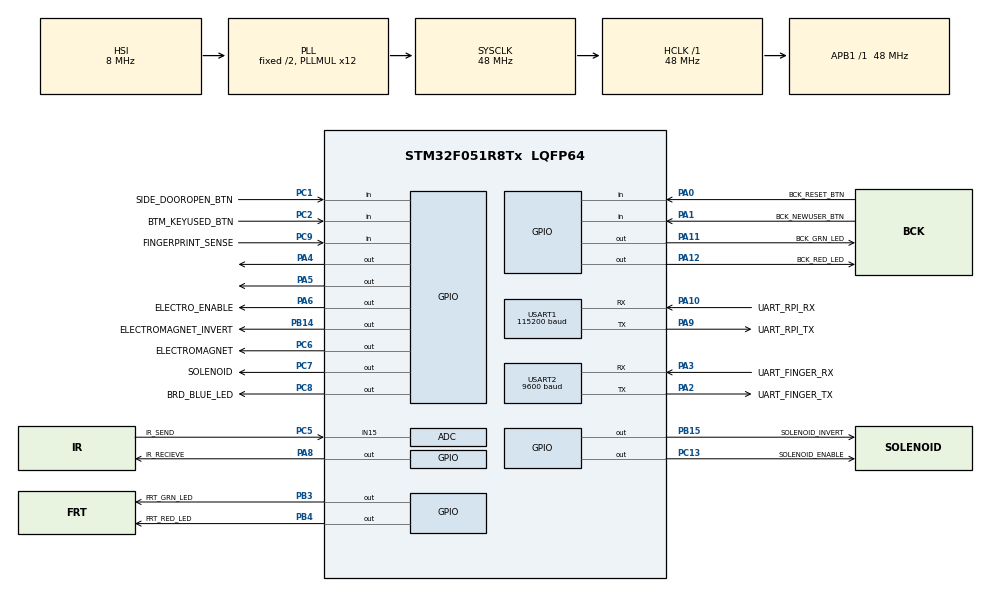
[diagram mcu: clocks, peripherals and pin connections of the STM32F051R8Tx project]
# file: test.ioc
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ADC.SamplingTime=ADC_SAMPLETIME_28CYCLES_5
Mcu.Family=STM32F0
Mcu.Name=STM32F051R8Tx
Mcu.Package=LQFP64
NVIC.ADC1_COMP_IRQn=true\:0\:0\:false\:false\:true\:true\:true
NVIC.USART1_IRQn=true\:0\:0\:false\:false\:true\:true\:true
NVIC.USART2_IRQn=true\:0\:0\:false\:false\:true\:true\:true
PA0.GPIO_Label=BCK_RESET_BTN
PA0.Signal=GPIO_Input
PA1.GPIO_Label=BCK_NEWUSER_BTN
PA1.Signal=GPIO_Input
PA10.GPIO_Label=UART_RPI_RX
PA10.Mode=Asynchronous
PA10.Signal=USART1_RX
PA11.GPIO_Label=BCK_GRN_LED
PA11.Signal=GPIO_Output
PA12.GPIO_Label=BCK_RED_LED
PA12.Signal=GPIO_Output
PA2.GPIO_Label=UART_FINGER_TX
PA2.Mode=Asynchronous
PA2.Signal=USART2_TX
PA3.GPIO_Label=UART_FINGER_RX
PA3.Mode=Asynchronous
PA3.Signal=USART2_RX
PA4.Signal=GPIO_Output
PA5.Signal=GPIO_Output
PA6.GPIO_Label=ELECTRO_ENABLE
PA6.Signal=GPIO_Output
PA8.GPIO_Label=IR_RECIEVE
PA8.Signal=GPIO_Output
PA9.GPIO_Label=UART_RPI_TX
PA9.Mode=Asynchronous
PA9.Signal=USART1_TX
PB14.GPIO_Label=ELECTROMAGNET_INVERT
PB14.Signal=GPIO_Output
PB15.GPIO_Label=SOLENOID_INVERT
PB15.Signal=GPIO_Output
PB3.GPIO_Label=FRT_GRN_LED
PB3.Signal=GPIO_Output
PB4.GPIO_Label=FRT_RED_LED
PB4.Signal=GPIO_Output
PC1.GPIO_Label=SIDE_DOOROPEN_BTN
PC1.Signal=GPIO_Input
PC13.GPIO_Label=SOLENOID_ENABLE
PC13.Signal=GPIO_Output
PC2.GPIO_Label=BTM_KEYUSED_BTN
PC2.Signal=GPIO_Input
PC5.GPIO_Label=IR_SEND
PC5.Mode=IN15
PC5.Signal=ADC_IN15
PC6.GPIO_Label=ELECTROMAGNET
PC6.Signal=GPIO_Output
PC7.GPIO_Label=SOLENOID
PC7.Signal=GPIO_Output
PC8.GPIO_Label=BRD_BLUE_LED
PC8.Signal=GPIO_Output
PC9.GPIO_Label=FINGERPRINT_SENSE
PC9.Signal=GPIO_Input
ProjectManager.HeapSize=0x200
ProjectManager.StackSize=0x400
ProjectManager.TargetToolchain=STM32CubeIDE
RCC.AHBFreq_Value=48000000
RCC.APB1Freq_Value=48000000
RCC.APB1TimFreq_Value=48000000
RCC.HCLKFreq_Value=48000000
RCC.PLLMUL=RCC_PLL_MUL12
RCC.SYSCLKFreq_VALUE=48000000
RCC.SYSCLKSource=RCC_SYSCLKSOURCE_PLLCLK
USART1.BaudRate=115200
USART1.VirtualMode-Asynchronous=VM_ASYNC
USART2.BaudRate=9600
USART2.VirtualMode-Asynchronous=VM_ASYNC
VP_ADC_Vref_Input.Mode=IN-Vrefint
board=custom

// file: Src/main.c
/* USER CODE BEGIN Header */
/**
  ******************************************************************************
  * @file           : main.c
  * @brief          : Main program body
  ******************************************************************************
  * @attention
  *
  * <h2><center>&copy; Copyright (c) 2019 STMicroelectronics.
  * All rights reserved.</center></h2>
  *
  * This software component is licensed by ST under BSD 3-Clause license,
  * the "License"; You may not use this file except in compliance with the
  * License. You may obtain a copy of the License at:
  *                        opensource.org/licenses/BSD-3-Clause
  *
  ******************************************************************************
  */
/* USER CODE END Header */

#include "main.h"
#include "adc.h"
#include "usart.h"
#include "gpio.h"

/* USER CODE BEGIN Includes */
#include <string.h>
#include <stdio.h>
#include "stm32f0xx_hal.h"
#include "stm32f0xx.h"
#include "fingerprint_scanner.h"
#include "ir_sensor.h"
#include "raspi_coms.h"
#include "peripherals.h"
/* USER CODE END Includes */

/* USER CODE BEGIN PD */

void SendtoPi(int select, char string[100], int input);
/* USER CODE END PD */

/* USER CODE BEGIN PV */

//=== UART STUFF ===//
UART_HandleTypeDef huart1;
UART_HandleTypeDef huart2;
char Rx_data2[100];
char buff[12];
char Rx_data[100];
char old_Rx_data[100];
int counter = 0;
int check = 0;
bool returns = 0;

//== ADC STUFF ==//
ADC_HandleTypeDef hadc;
uint16_t adc_value;
int image_taken = 0;
int first_run = 0;
int ir_cnt = 0;

//== FLAGS ==//
bool no_ir_flag = false;
bool new_user_flag = false;
bool delete_user_flag = false;
bool clear_users_flag = false;
bool unlock_flag = false;
bool intruder_flag = false;

//== TIMEOUTS ==//
int timeout = 500000;
int timeout2 = 1000000;
int timeout_cnt = 0;

/* USER CODE END PV */

void SystemClock_Config(void);
/* USER CODE BEGIN PFP */

void HAL_UART_RxCpltCallback(UART_HandleTypeDef *huart) // change this for recieve from both UARTs
{
	if(Rx_data[0] == old_Rx_data[0] && Rx_data[1] == old_Rx_data[1]){check = Check_Response(Rx_data2);} // MESSAGE FROM FINGERPRINT SCANNER
	else{
		switch(Rx_data[0])
		case 0x01: unlock_flag = true; break;		// unlock door
		case 0x02: clear_users_flag = true; break;	//delete all users
		case 0x03: delete_user_flag = true; break;	// delete a user
		case 0x04: new_user_flag = true; break;		// create new user
		old_Rx_data[0] = Rx_data[0];
		old_Rx_data[1] = Rx_data[1];
	} // MESSAGE FROM RASPBERRY PI

	HAL_UART_Receive_IT (&huart2, Rx_data2, 12);
	HAL_UART_Receive_IT (&huart1, Rx_data, 2);
}

void HAL_ADC_ConvCpltCallback(ADC_HandleTypeDef* hadc1)
{
 adc_value = HAL_ADC_GetValue(hadc1);
 if(no_ir_flag == false && adc_value > 2500 && image_taken == 0 && first_run == 2){
	 ir_cnt++;
	 if(ir_cnt > 1000000){
	 //if(ir_cnt > 100000){
		 intruder_flag = true;
		 ir_cnt = 0;
		 image_taken = 1;
	 }
 }
 else if(adc_value <= 2300 || no_ir_flag == true){
	 image_taken = 0;
	 ir_cnt = 0;
 }
 if(first_run < 2){first_run++;}

 HAL_ADC_Start_IT(hadc1);
}

/* USER CODE END PFP */

int main(void)
{

  /* MCU Configuration--------------------------------------------------------*/

  /* Reset of all peripherals, Initializes the Flash interface and the Systick. */
  HAL_Init();

  /* Configure the system clock */
  SystemClock_Config();

  /* Initialize all configured peripherals */
  MX_GPIO_Init();
  MX_USART1_UART_Init();
  MX_USART2_UART_Init();
  MX_ADC_Init();
  /* USER CODE BEGIN 2 */
  HAL_ADC_Start_IT(&hadc);
  HAL_GPIO_WritePin(GPIOC, SOLENOID_ENABLE_Pin, RESET);
  HAL_GPIO_WritePin(GPIOA, ELECTRO_ENABLE_Pin, RESET);
  HAL_GPIO_WritePin(GPIOC, ELECTROMAGNET_Pin, RESET);
  HAL_GPIO_WritePin(GPIOC, SOLENOID_Pin, RESET);
  HAL_GPIO_WritePin(GPIOB, SOLENOID_INVERT_Pin, RESET);
  HAL_GPIO_WritePin(GPIOB, ELECTROMAGNET_INVERT_Pin, RESET);

  HAL_GPIO_WritePin(GPIOA, IR_RECIEVE_Pin, SET);

  HAL_UART_Receive_IT (&huart2, Rx_data2, 12);
  HAL_UART_Receive_IT (&huart1, Rx_data, 2);
  LED_FP(0);
  /* USER CODE END 2 */

  /* Infinite loop */
  /* USER CODE BEGIN WHILE */
  while (1)
  {
	  if(Debounce(0)){ // ===== PCB: RESET
		  no_ir_flag = true;
		  LED_FP(1);
		  HAL_Delay(1000);
		  LED_FP(0);
		  NVIC_SystemReset();
	  }

	  if(Debounce(4)){ // ===== PCB: IDENTIFY FINGER
		  no_ir_flag = true;
		  LED_FP(1);
		  int db_check;
		  if((db_check = Check_DB()) == 1){
			  int id = Identify_finger();
			  if(id == -1 || id == 0) {// finger not found
				  SendDeniedFPS();
			  }
			  else{ // access granted
				  SendAccessFPS(id);
				  GetUnlockDoor();
			  }
		  }
		  else{SendDeniedFPS();}
		  LED_FP(0);
		  while(HAL_GPIO_ReadPin(GPIOC, FINGERPRINT_SENSE_Pin) != 0 && timeout_cnt < timeout2){timeout_cnt++;} // get finger off scanner
		  timeout_cnt = 0;
	  }
	  else if(Debounce(2)){ // ===== PCB: KEY USED
		  no_ir_flag = true;
		  SendAccessKey();
	  }
	  //else if(Debounce(3)){ // ===== PCB: DOOR OPEN
		//  no_ir_flag = true;
	  //}
	  else if(Debounce(1)){ // ===== PCB: LEARN FINGER
		  LED_FP(1);
		  no_ir_flag = true;
		  while(HAL_GPIO_ReadPin(GPIOC, FINGERPRINT_SENSE_Pin) == 0 && timeout_cnt < timeout){timeout_cnt++;} // put finger on scanner
		  if(timeout_cnt < timeout){
			  int new_id = Enroll_finger();
			  SendNewUserFPS(new_id);
		  }
		  timeout_cnt = 0;
		  LED_FP(0);
		  while(HAL_GPIO_ReadPin(GPIOC, FINGERPRINT_SENSE_Pin) != 0 && timeout_cnt < timeout2){timeout_cnt++;} // get finger off scanner
		  timeout_cnt = 0;
	  }
	  else{ no_ir_flag = false;}

	  if(new_user_flag){ // ======== SERVER REQUEST: NEW USER
		  LED_FP(1);
		  new_user_flag = false;
		  no_ir_flag = true;
		  // put finger on scanner
		  if(WaitFingerPlace(timeout)){
			  int new_id = Enroll_finger();
			  SendNewUserFPS(new_id);
		  }
		  // get finger off scanner
		  WaitFingerRemove(timeout2);
		  LED_FP(0);
	  }
	  else if(clear_users_flag){ // ===== SERVER REQUEST: DELETE ALL USERS
		  clear_users_flag = false;
		  SendtoFP(Deleteall_packet());
	  }
	  else if(delete_user_flag){ // ===== SERVER REQUEST: DELETE USER BY ID
		  delete_user_flag = false;
		  int del_id = 0;
		  del_id = del_id + (int)Rx_data[1];
		  SendtoFP(Delete_packet(del_id));
	  }
	  else if(unlock_flag){ // ===== SERVER REQUEST: UNLOCK DOOR
		  unlock_flag = false;
		  GetUnlockDoor();
	  }

	  if(intruder_flag){ // ===== IR SENSOR: INTRUDER
		  intruder_flag = false;
		  SendDeniedIR();
	  }

    /* USER CODE END WHILE */

  }
}

void SystemClock_Config(void)
{
  RCC_OscInitTypeDef RCC_OscInitStruct = {0};
  RCC_ClkInitTypeDef RCC_ClkInitStruct = {0};
  RCC_PeriphCLKInitTypeDef PeriphClkInit = {0};

  /** Initializes the CPU, AHB and APB busses clocks
  */
  RCC_OscInitStruct.OscillatorType = RCC_OSCILLATORTYPE_HSI|RCC_OSCILLATORTYPE_HSI14;
  RCC_OscInitStruct.HSIState = RCC_HSI_ON;
  RCC_OscInitStruct.HSI14State = RCC_HSI14_ON;
  RCC_OscInitStruct.HSICalibrationValue = RCC_HSICALIBRATION_DEFAULT;
  RCC_OscInitStruct.HSI14CalibrationValue = 16;
  RCC_OscInitStruct.PLL.PLLState = RCC_PLL_ON;
  RCC_OscInitStruct.PLL.PLLSource = RCC_PLLSOURCE_HSI;
  RCC_OscInitStruct.PLL.PLLMUL = RCC_PLL_MUL12;
  RCC_OscInitStruct.PLL.PREDIV = RCC_PREDIV_DIV1;
  if (HAL_RCC_OscConfig(&RCC_OscInitStruct) != HAL_OK)
  {
    Error_Handler();
  }
  /** Initializes the CPU, AHB and APB busses clocks
  */
  RCC_ClkInitStruct.ClockType = RCC_CLOCKTYPE_HCLK|RCC_CLOCKTYPE_SYSCLK
                              |RCC_CLOCKTYPE_PCLK1;
  RCC_ClkInitStruct.SYSCLKSource = RCC_SYSCLKSOURCE_PLLCLK;
  RCC_ClkInitStruct.AHBCLKDivider = RCC_SYSCLK_DIV1;
  RCC_ClkInitStruct.APB1CLKDivider = RCC_HCLK_DIV1;

  if (HAL_RCC_ClockConfig(&RCC_ClkInitStruct, FLASH_LATENCY_1) != HAL_OK)
  {
    Error_Handler();
  }
  PeriphClkInit.PeriphClockSelection = RCC_PERIPHCLK_USART1;
  PeriphClkInit.Usart1ClockSelection = RCC_USART1CLKSOURCE_PCLK1;
  if (HAL_RCCEx_PeriphCLKConfig(&PeriphClkInit) != HAL_OK)
  {
    Error_Handler();
  }
}

void Error_Handler(void)
{
}

/************************ (C) COPYRIGHT STMicroelectronics *****END OF FILE****/
